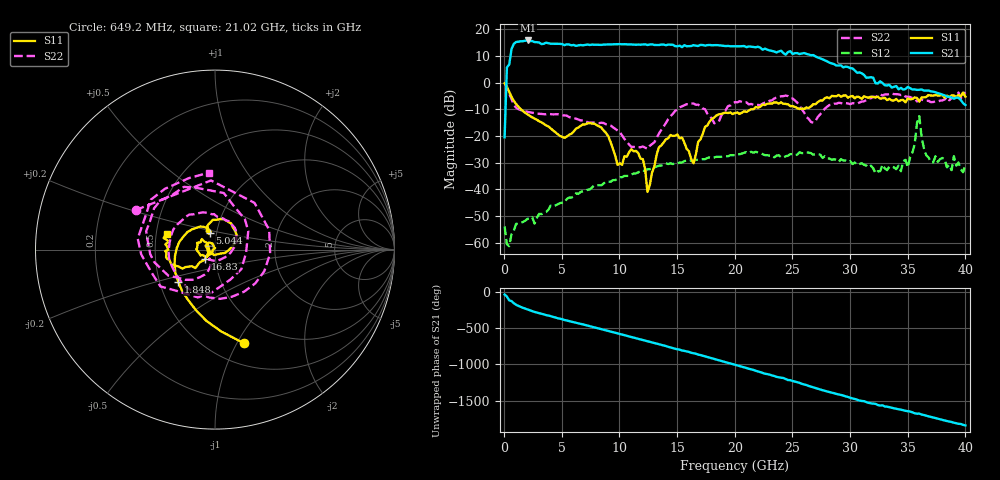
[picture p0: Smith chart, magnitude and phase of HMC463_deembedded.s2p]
!Hittite Microwave Corporation
!12 Elizabeth Drive
!Chelmsford, MA 01824
!Tel: 978-250-3343
!Fax: 978-250-3373
!Device: HMC463, 2-20 GHz, GaAs PHEMT MMIC LOW NOISE AGC AMPLIFIER
!Misc:  Data includes (two) K connectors, Vdd=+5V, Room
# MHZ S MA R 50
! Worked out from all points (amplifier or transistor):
!   201 points, 50 MHz to 40 GHz, reference 50 ohm
!   highest |S21| = 15.9 dB at 2.047 GHz (marker M1)
!   |S21| within 3 dB of that: 671.7 MHz to 22.3 GHz (21.62 GHz wide, 188 % of centre)
!   unconditionally stable (mu >= 1): 54.15 MHz to end of sweep
!   at 6.642 GHz: K = 10.20, MAG = 14.5 dB, |S12| = -40.9 dB
!   at 20.02 GHz: K = 1.98, MAG = 14.7 dB, |S12| = -27.1 dB
!   at 40 GHz: K = 16.98, MAG = -4.2 dB, |S12| = -30.5 dB
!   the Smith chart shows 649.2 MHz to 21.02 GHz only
!   S11 on the Smith chart (normalised r, x): 649.2 MHz: 0.72, -1.07; 1.848 GHz: 0.62, -0.24; 5.044 GHz: 0.93, +0.17; 16.83 GHz: 0.89, -0.10; 21.02 GHz: 0.57, +0.11
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50  0.978 -8.9  0.095 -39.9  0.002026 -86.2  1.001 -15.9
649.25  0.545 -72.9  4.295 -130.8  0.001458 -109.0  0.494 153.5
1048.75  0.401 -96.7  5.828 179.3  0.002275 -173.1  0.341 49.7
1847.75  0.272 -138.8  6.162 126.2  0.00261 124.5  0.293 -39.9
2047.5  0.255 -150.2  6.222 114.5  0.002829 115.4  0.285 -55.4
3645.5  0.159 129.6  5.657 36.7  0.003776 46.7  0.257 -158.2
5043.75  0.097 106.4  5.316 -19.3  0.005648 2.0  0.246 139.0
6841.5  0.166 94.5  5.05 -90.4  0.009234 -59.9  0.198 91.5
8839  0.115 16.7  5.222 -172.6  0.014 -138.3  0.167 54.7
10836.5  0.05 163.4  5.241 103.2  0.018 138.2  0.07 -38.4
13433.25  0.062 -138.3  5.111 -5.6  0.028 33.9  0.112 -107.0
15231  0.091 153.2  4.971 -79.2  0.032 -42.6  0.346 -168.5
16829  0.078 -135.9  4.896 -146.5  0.036 -107.7  0.39 116.4
18227.25  0.225 -155.5  5.065 152.7  0.04 -165.8  0.174 -5.9
20025  0.271 175.5  4.832 73.6  0.044 119.8  0.435 171.8
21023.75  0.284 162.0  4.653 28.5  0.05 71.3  0.43 94.4
22621.75  0.383 126.0  4.371 -49.9  0.044 -6.4  0.425 -75.1
24020  0.429 78.0  3.998 -105.4  0.04 -52.9  0.559 147.6
26816.5  0.398 -22.2  3.31 121.8  0.045 179.7  0.179 -22.2
29213.5  0.549 -84.3  2.126 17.4  0.037 80.8  0.417 -61.4
33408.25  0.501 147.0  0.917 -150.1  0.027 -94.8  0.611 -164.5
40000  0.55 -104.5  0.383 -41.9  0.03 40.9  0.665 7.1
